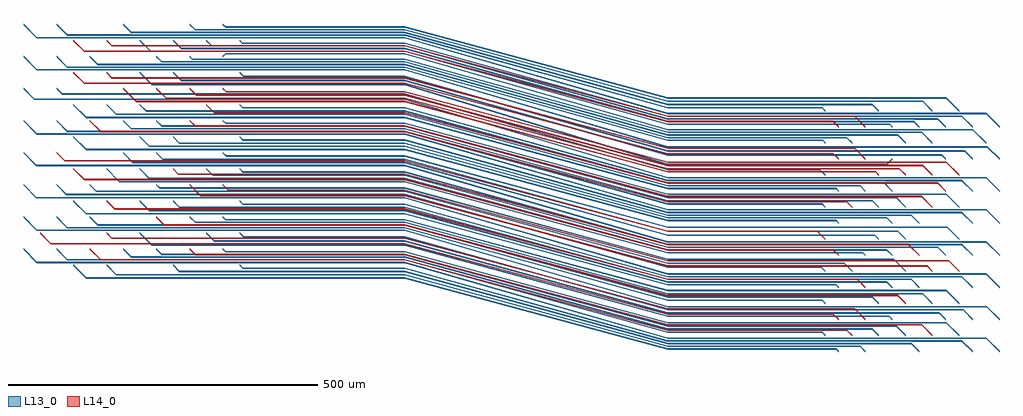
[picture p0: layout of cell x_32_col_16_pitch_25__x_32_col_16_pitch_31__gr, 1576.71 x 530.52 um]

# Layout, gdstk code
import gdstk
lib = gdstk.Library(unit=1e-6, precision=1e-09)
def R(c, l, rs):  # rectangles x0, y0, x1, y1
    for r in rs: c.add(gdstk.rectangle(r[:2], r[2:], *l))
def A(c, l, x, y, w, h, nx, ny, dx, dy):  # array of equal rectangles
    R(c, l, [(x+i*dx, y+j*dy, x+i*dx+w, y+j*dy+h) for i in range(nx) for j in range(ny)])
def P(c, l, *ps):  # polygons
    for p in ps: c.add(gdstk.Polygon(p, *l))
L13_0 = (13, 0)
L14_0 = (14, 0)

x_32_col_16_pitch_25__x_ = lib.new_cell('x_32_col_16_pitch_25__x_32_col_16_pitch_31__gr')
A(x_32_col_16_pitch_25__x_, L13_0, 2300, 1351.56, 271.46, 2, 1, 3, 0, 103.68)
A(x_32_col_16_pitch_25__x_, L13_0, 2300, 1360.2, 392.72, 2, 1, 3, 0, 103.68)
A(x_32_col_16_pitch_25__x_, L13_0, 2300, 1430.184, 248.946, 2, 1, 3, 0, 155.52)
A(x_32_col_16_pitch_25__x_, L13_0, 2300, 1435.368, 330.362, 2, 1, 3, 0, 155.52)
A(x_32_col_16_pitch_25__x_, L13_0, 2300, 1445.736, 449.894, 2, 1, 3, 0, 155.52)
A(x_32_col_16_pitch_25__x_, L13_0, 2300, 1459.56, 353.74, 2, 1, 3, 0, 51.84)
A(x_32_col_16_pitch_25__x_, L13_0, 1360.153, 1466.224, 514.847, 2, 1, 3, 0, 103.68)
A(x_32_col_16_pitch_25__x_, L13_0, 2300, 1468.2, 475, 2, 1, 4, 0, 51.84)
A(x_32_col_16_pitch_25__x_, L13_0, 2300, 1472.52, 513.982, 2, 1, 4, 0, 51.84)
A(x_32_col_16_pitch_25__x_, L13_0, 1510.865, 1476.592, 364.135, 2, 1, 3, 0, 103.68)
A(x_32_col_16_pitch_25__x_, L13_0, 1462.352, 1575.088, 412.648, 2, 1, 3, 0, 51.84)
A(x_32_col_16_pitch_25__x_, L13_0, 1613.064, 1585.456, 261.936, 2, 1, 4, 0, 51.84)
R(x_32_col_16_pitch_25__x_, L13_0, [(2300,1355.88,2610.44,1357.88), (2300,1364.52,2775,1366.52), (2300,1368.84,2813.982,1370.84), (2300,1378.344,2548.946,1380.344), (2300,1383.528,2630.362,1385.528), (2300,1388.712,2668.478,1390.712), (2300,1393.896,2749.894,1395.896), (2300,1404.264,2657.196,1406.264), (2300,1409.448,2738.612,1411.448), (2300,1414.632,2776.728,1416.632), (2300,1419.816,2814.846,1421.816), (2300,1440.552,2711.778,1442.552), (1408.662,1471.408,1875,1473.408), (1613.064,1481.776,1875,1483.776), (2300,1483.32,2547.65,1485.32), (2300,1489.8,2584.47,1491.8), (1280.472,1491.28,1875,1493.28), (1329.85,1495.6,1875,1497.6), (2300,1496.28,2664.59,1498.28), (1432.917,1499.92,1875,1501.92), (1482.29,1504.24,1875,1506.24), (2300,1507.08,2614.76,1509.08), (1585.36,1508.56,1875,1510.56), (2300,1515.72,2736.02,1517.72), (1466.24,1519.36,1875,1521.36), (1567.15,1525.84,1875,1527.84), (1614.36,1532.32,1875,1534.32), (2300,1535.16,2634.25,1537.16), (2300,1541.64,2671.07,1543.64), (1280.472,1543.12,1875,1545.12), (1329.85,1547.44,1875,1549.44), (2300,1548.12,2751.19,1550.12), (1379.22,1551.76,1875,1553.76), (1535.98,1556.08,1875,1558.08), (1585.36,1560.4,1875,1562.4), (1279.608,1595.824,1875,1597.824), (2300,1596.072,2668.478,1598.072), (1328.122,1601.008,1875,1603.008), (1376.628,1606.192,1875,1608.192), (2300,1610.76,2571.46,1612.76), (1478.834,1611.376,1875,1613.376), (2300,1615.08,2610.44,1617.08), (2300,1619.4,2649.42,1621.4), (1413.846,1621.744,1875,1623.744), (1564.558,1632.112,1875,1634.112), (2300,1641,2545.49,1643), (1279.608,1647.664,1875,1649.664), (2300,1649.64,2653.74,1651.64), (1435.509,1652.848,1875,1654.848), (1484.018,1658.032,1875,1660.032), (1586.224,1663.216,1875,1665.216), (2300,1664.76,2742.5,1666.76), (2300,1671.24,2779.32,1673.24), (2300,1677.72,2816.142,1679.72), (2300,1688.52,2549.81,1690.52), (2300,1692.84,2588.79,1694.84), (2300,1697.16,2671.07,1699.16), (1280.472,1698.64,1875,1700.64), (2300,1701.48,2710.05,1703.48), (1329.85,1702.96,1875,1704.96), (2300,1705.8,2792.332,1707.8), (1432.917,1707.28,1875,1709.28), (1482.29,1711.6,1875,1713.6), (2300,1714.44,2658.06,1716.44), (1585.36,1715.92,1875,1717.92), (2300,1718.76,2697.04,1720.76), (2300,1723.08,2736.02,1725.08), (1360.153,1725.424,1875,1727.424), (2300,1727.4,2775,1729.4), (1408.662,1730.608,1875,1732.608), (2300,1731.72,2813.982,1733.72), (1457.168,1735.792,1875,1737.792), (2300,1751.592,2711.778,1753.592), (1276.152,1754.8,1875,1756.8), (1321.21,1763.44,1875,1765.44), (1466.24,1778.56,1875,1780.56), (1513.457,1785.04,1875,1787.04), (1614.36,1791.52,1875,1793.52), (1280.472,1802.32,1875,1804.32), (1329.85,1806.64,1875,1808.64), (1379.22,1810.96,1875,1812.96), (1482.29,1815.28,1875,1817.28), (1531.66,1819.6,1875,1821.6), (1585.36,1828.24,1875,1830.24), (1464.08,1832.56,1875,1834.56), (1513.457,1836.88,1875,1838.88), (1562.83,1841.2,1875,1843.2), (1612.2,1845.52,1875,1847.52), (1280.472,1854.16,1875,1856.16), (1329.85,1858.48,1875,1860.48), (1432.917,1862.8,1875,1864.8), (1535.98,1867.12,1875,1869.12), (1585.36,1871.44,1875,1873.44)])
P(x_32_col_16_pitch_25__x_, L13_0, [(2554.13,1736.04),(2554.13,1738.04),(2548.946,1743.224),(2548.946,1741.224)],
  [(2300,1741.224),(2300,1743.224),(1875,1860.48),(1875,1858.48)],
  [(1329.85,1858.48),(1329.85,1860.48),(1312.57,1877.76),(1312.57,1875.76)],
  [(2640.73,1736.04),(2640.73,1738.04),(2630.362,1748.408),(2630.362,1746.408)],
  [(2300,1746.408),(2300,1748.408),(1875,1864.8),(1875,1862.8)],
  [(1432.917,1862.8),(1432.917,1864.8),(1419.957,1877.76),(1419.957,1875.76)],
  [(2727.33,1736.04),(2727.33,1738.04),(2711.778,1753.592),(2711.778,1751.592)],
  [(2300,1751.592),(2300,1753.592),(1875,1869.12),(1875,1867.12)],
  [(1535.98,1867.12),(1535.98,1869.12),(1527.34,1877.76),(1527.34,1875.76)],
  [(2770.63,1736.04),(2770.63,1738.04),(2749.894,1758.776),(2749.894,1756.776)],
  [(2300,1756.776),(2300,1758.776),(1875,1873.44),(1875,1871.44)],
  [(1585.36,1871.44),(1585.36,1873.44),(1581.04,1877.76),(1581.04,1875.76)],
  [(2662.38,1710.12),(2662.38,1712.12),(2658.06,1716.44),(2658.06,1714.44)],
  [(2300,1714.44),(2300,1716.44),(1875,1834.56),(1875,1832.56)],
  [(1464.08,1832.56),(1464.08,1834.56),(1446.8,1851.84),(1446.8,1849.84)],
  [(2705.68,1710.12),(2705.68,1712.12),(2697.04,1720.76),(2697.04,1718.76)],
  [(2300,1718.76),(2300,1720.76),(1875,1838.88),(1875,1836.88)],
  [(1513.457,1836.88),(1513.457,1838.88),(1500.497,1851.84),(1500.497,1849.84)],
  [(2748.98,1710.12),(2748.98,1712.12),(2736.02,1725.08),(2736.02,1723.08)],
  [(2300,1723.08),(2300,1725.08),(1875,1843.2),(1875,1841.2)],
  [(1562.83,1841.2),(1562.83,1843.2),(1554.19,1851.84),(1554.19,1849.84)],
  [(2792.28,1710.12),(2792.28,1712.12),(2775,1729.4),(2775,1727.4)],
  [(2300,1727.4),(2300,1729.4),(1875,1847.52),(1875,1845.52)],
  [(1612.2,1845.52),(1612.2,1847.52),(1607.88,1851.84),(1607.88,1849.84)],
  [(2835.582,1710.12),(2835.582,1712.12),(2813.982,1733.72),(2813.982,1731.72)],
  [(2300,1731.72),(2300,1733.72),(1875,1856.16),(1875,1854.16)],
  [(1280.472,1854.16),(1280.472,1856.16),(1258.872,1877.76),(1258.872,1875.76)],
  [(2554.13,1684.2),(2554.13,1686.2),(2549.81,1690.52),(2549.81,1688.52)],
  [(2300,1688.52),(2300,1690.52),(1875,1808.64),(1875,1806.64)],
  [(1329.85,1806.64),(1329.85,1808.64),(1312.57,1825.92),(1312.57,1823.92)],
  [(2597.43,1684.2),(2597.43,1686.2),(2588.79,1694.84),(2588.79,1692.84)],
  [(2300,1692.84),(2300,1694.84),(1875,1812.96),(1875,1810.96)],
  [(1379.22,1810.96),(1379.22,1812.96),(1366.26,1825.92),(1366.26,1823.92)],
  [(2684.03,1684.2),(2684.03,1686.2),(2671.07,1699.16),(2671.07,1697.16)],
  [(2300,1697.16),(2300,1699.16),(1875,1817.28),(1875,1815.28)],
  [(1482.29,1815.28),(1482.29,1817.28),(1473.65,1825.92),(1473.65,1823.92)],
  [(2727.33,1684.2),(2727.33,1686.2),(2710.05,1703.48),(2710.05,1701.48)],
  [(2300,1701.48),(2300,1703.48),(1875,1821.6),(1875,1819.6)],
  [(1531.66,1819.6),(1531.66,1821.6),(1527.34,1825.92),(1527.34,1823.92)],
  [(2813.932,1684.2),(2813.932,1686.2),(2792.332,1707.8),(2792.332,1705.8)],
  [(2300,1705.8),(2300,1707.8),(1875,1830.24),(1875,1828.24)],
  [(1585.36,1828.24),(1585.36,1830.24),(1581.04,1825.92),(1581.04,1823.92)],
  [(2662.38,1658.28),(2662.38,1660.28),(2653.74,1651.64),(2653.74,1649.64)],
  [(2300,1649.64),(2300,1651.64),(1875,1780.56),(1875,1778.56)],
  [(1466.24,1778.56),(1466.24,1780.56),(1446.8,1800),(1446.8,1798)],
  [(2748.98,1658.28),(2748.98,1660.28),(2742.5,1666.76),(2742.5,1664.76)],
  [(2300,1664.76),(2300,1666.76),(1875,1787.04),(1875,1785.04)],
  [(1513.457,1785.04),(1513.457,1787.04),(1500.497,1800),(1500.497,1798)],
  [(2792.28,1658.28),(2792.28,1660.28),(2779.32,1673.24),(2779.32,1671.24)],
  [(2300,1671.24),(2300,1673.24),(1875,1793.52),(1875,1791.52)],
  [(1614.36,1791.52),(1614.36,1793.52),(1607.88,1800),(1607.88,1798)],
  [(2835.582,1658.28),(2835.582,1660.28),(2816.142,1679.72),(2816.142,1677.72)],
  [(2300,1677.72),(2300,1679.72),(1875,1804.32),(1875,1802.32)],
  [(1280.472,1802.32),(1280.472,1804.32),(1258.872,1825.92),(1258.872,1823.92)],
  [(2554.13,1632.36),(2554.13,1634.36),(2545.49,1643),(2545.49,1641)],
  [(2300,1641),(2300,1643),(1875,1765.44),(1875,1763.44)],
  [(1321.21,1763.44),(1321.21,1765.44),(1312.57,1774.08),(1312.57,1772.08)],
  [(2575.78,1606.44),(2575.78,1608.44),(2571.46,1612.76),(2571.46,1610.76)],
  [(2300,1610.76),(2300,1612.76),(1875,1727.424),(1875,1725.424)],
  [(1360.153,1725.424),(1360.153,1727.424),(1339.417,1748.16),(1339.417,1746.16)],
  [(2619.08,1606.44),(2619.08,1608.44),(2610.44,1617.08),(2610.44,1615.08)],
  [(2300,1615.08),(2300,1617.08),(1875,1732.608),(1875,1730.608)],
  [(1408.662,1730.608),(1408.662,1732.608),(1393.11,1748.16),(1393.11,1746.16)],
  [(2662.38,1606.44),(2662.38,1608.44),(2649.42,1621.4),(2649.42,1619.4)],
  [(2300,1619.4),(2300,1621.4),(1875,1737.792),(1875,1735.792)],
  [(1457.168,1735.792),(1457.168,1737.792),(1446.8,1748.16),(1446.8,1746.16)],
  [(2792.28,1606.44),(2792.28,1608.44),(2775,1625.72),(2775,1623.72)],
  [(2300,1623.72),(2300,1625.72),(1875,1742.976),(1875,1740.976)],
  [(1613.064,1740.976),(1613.064,1742.976),(1607.88,1748.16),(1607.88,1746.16)],
  [(2835.582,1606.44),(2835.582,1608.44),(2813.982,1630.04),(2813.982,1628.04)],
  [(2300,1628.04),(2300,1630.04),(1875,1756.8),(1875,1754.8)],
  [(1276.152,1754.8),(1276.152,1756.8),(1258.872,1774.08),(1258.872,1772.08)],
  [(2554.13,1580.52),(2554.13,1582.52),(2548.946,1587.704),(2548.946,1585.704)],
  [(2300,1585.704),(2300,1587.704),(1875,1704.96),(1875,1702.96)],
  [(1329.85,1702.96),(1329.85,1704.96),(1312.57,1722.24),(1312.57,1720.24)],
  [(2640.73,1580.52),(2640.73,1582.52),(2630.362,1592.888),(2630.362,1590.888)],
  [(2300,1590.888),(2300,1592.888),(1875,1709.28),(1875,1707.28)],
  [(1432.917,1707.28),(1432.917,1709.28),(1419.957,1722.24),(1419.957,1720.24)],
  [(2684.03,1580.52),(2684.03,1582.52),(2668.478,1598.072),(2668.478,1596.072)],
  [(2300,1596.072),(2300,1598.072),(1875,1713.6),(1875,1711.6)],
  [(1482.29,1711.6),(1482.29,1713.6),(1473.65,1722.24),(1473.65,1720.24)],
  [(2770.63,1580.52),(2770.63,1582.52),(2749.894,1603.256),(2749.894,1601.256)],
  [(2300,1601.256),(2300,1603.256),(1875,1717.92),(1875,1715.92)],
  [(1585.36,1715.92),(1585.36,1717.92),(1581.04,1722.24),(1581.04,1720.24)],
  [(2575.78,1554.6),(2575.78,1556.6),(2571.46,1560.92),(2571.46,1558.92)],
  [(2300,1558.92),(2300,1560.92),(1875,1675.584),(1875,1673.584)],
  [(1360.153,1673.584),(1360.153,1675.584),(1339.417,1696.32),(1339.417,1694.32)],
  [(2662.38,1554.6),(2662.38,1556.6),(2653.74,1565.24),(2653.74,1563.24)],
  [(2300,1563.24),(2300,1565.24),(1875,1680.768),(1875,1678.768)],
  [(1462.352,1678.768),(1462.352,1680.768),(1446.8,1696.32),(1446.8,1694.32)],
  [(2705.68,1554.6),(2705.68,1556.6),(2692.72,1569.56),(2692.72,1567.56)],
  [(2300,1567.56),(2300,1569.56),(1875,1685.952),(1875,1683.952)],
  [(1510.865,1683.952),(1510.865,1685.952),(1500.497,1696.32),(1500.497,1694.32)],
  [(2792.28,1554.6),(2792.28,1556.6),(2775,1573.88),(2775,1571.88)],
  [(2300,1571.88),(2300,1573.88),(1875,1691.136),(1875,1689.136)],
  [(1613.064,1689.136),(1613.064,1691.136),(1607.88,1696.32),(1607.88,1694.32)],
  [(2835.582,1554.6),(2835.582,1556.6),(2813.982,1578.2),(2813.982,1576.2)],
  [(2300,1576.2),(2300,1578.2),(1875,1700.64),(1875,1698.64)],
  [(1280.472,1698.64),(1280.472,1700.64),(1258.872,1722.24),(1258.872,1720.24)],
  [(2640.73,1528.68),(2640.73,1530.68),(2634.25,1537.16),(2634.25,1535.16)],
  [(2300,1535.16),(2300,1537.16),(1875,1654.848),(1875,1652.848)],
  [(1435.509,1652.848),(1435.509,1654.848),(1419.957,1670.4),(1419.957,1668.4)],
  [(2684.03,1528.68),(2684.03,1530.68),(2671.07,1543.64),(2671.07,1541.64)],
  [(2300,1541.64),(2300,1543.64),(1875,1660.032),(1875,1658.032)],
  [(1484.018,1658.032),(1484.018,1660.032),(1473.65,1670.4),(1473.65,1668.4)],
  [(2770.63,1528.68),(2770.63,1530.68),(2751.19,1550.12),(2751.19,1548.12)],
  [(2300,1548.12),(2300,1550.12),(1875,1665.216),(1875,1663.216)],
  [(1586.224,1663.216),(1586.224,1665.216),(1581.04,1670.4),(1581.04,1668.4)],
  [(2619.08,1502.76),(2619.08,1504.76),(2614.76,1509.08),(2614.76,1507.08)],
  [(2300,1507.08),(2300,1509.08),(1875,1623.744),(1875,1621.744)],
  [(1413.846,1621.744),(1413.846,1623.744),(1393.11,1644.48),(1393.11,1642.48)],
  [(2662.38,1502.76),(2662.38,1504.76),(2653.74,1513.4),(2653.74,1511.4)],
  [(2300,1511.4),(2300,1513.4),(1875,1628.928),(1875,1626.928)],
  [(1462.352,1626.928),(1462.352,1628.928),(1446.8,1644.48),(1446.8,1642.48)],
  [(2748.98,1502.76),(2748.98,1504.76),(2736.02,1517.72),(2736.02,1515.72)],
  [(2300,1515.72),(2300,1517.72),(1875,1634.112),(1875,1632.112)],
  [(1564.558,1632.112),(1564.558,1634.112),(1554.19,1644.48),(1554.19,1642.48)],
  [(2792.28,1502.76),(2792.28,1504.76),(2775,1522.04),(2775,1520.04)],
  [(2300,1520.04),(2300,1522.04),(1875,1639.296),(1875,1637.296)],
  [(1613.064,1637.296),(1613.064,1639.296),(1607.88,1644.48),(1607.88,1642.48)],
  [(2835.582,1502.76),(2835.582,1504.76),(2813.982,1526.36),(2813.982,1524.36)],
  [(2300,1524.36),(2300,1526.36),(1875,1649.664),(1875,1647.664)],
  [(1279.608,1647.664),(1279.608,1649.664),(1258.872,1670.4),(1258.872,1668.4)],
  [(2554.13,1476.84),(2554.13,1478.84),(2547.65,1485.32),(2547.65,1483.32)],
  [(2300,1483.32),(2300,1485.32),(1875,1603.008),(1875,1601.008)],
  [(1328.122,1601.008),(1328.122,1603.008),(1312.57,1618.56),(1312.57,1616.56)],
  [(2597.43,1476.84),(2597.43,1478.84),(2584.47,1491.8),(2584.47,1489.8)],
  [(2300,1489.8),(2300,1491.8),(1875,1608.192),(1875,1606.192)],
  [(1376.628,1606.192),(1376.628,1608.192),(1366.26,1618.56),(1366.26,1616.56)],
  [(2684.03,1476.84),(2684.03,1478.84),(2664.59,1498.28),(2664.59,1496.28)],
  [(2300,1496.28),(2300,1498.28),(1875,1613.376),(1875,1611.376)],
  [(1478.834,1611.376),(1478.834,1613.376),(1473.65,1618.56),(1473.65,1616.56)],
  [(2575.78,1450.92),(2575.78,1452.92),(2571.46,1457.24),(2571.46,1455.24)],
  [(2300,1455.24),(2300,1457.24),(1875,1571.904),(1875,1569.904)],
  [(1360.153,1569.904),(1360.153,1571.904),(1339.417,1592.64),(1339.417,1590.64)],
  [(2662.38,1450.92),(2662.38,1452.92),(2653.74,1461.56),(2653.74,1459.56)],
  [(2300,1459.56),(2300,1461.56),(1875,1577.088),(1875,1575.088)],
  [(1462.352,1575.088),(1462.352,1577.088),(1446.8,1592.64),(1446.8,1590.64)],
  [(2705.68,1450.92),(2705.68,1452.92),(2692.72,1465.88),(2692.72,1463.88)],
  [(2300,1463.88),(2300,1465.88),(1875,1582.272),(1875,1580.272)],
  [(1510.865,1580.272),(1510.865,1582.272),(1500.497,1592.64),(1500.497,1590.64)],
  [(2792.28,1450.92),(2792.28,1452.92),(2775,1470.2),(2775,1468.2)],
  [(2300,1468.2),(2300,1470.2),(1875,1587.456),(1875,1585.456)],
  [(1613.064,1585.456),(1613.064,1587.456),(1607.88,1592.64),(1607.88,1590.64)],
  [(2835.582,1450.92),(2835.582,1452.92),(2813.982,1474.52),(2813.982,1472.52)],
  [(2300,1472.52),(2300,1474.52),(1875,1597.824),(1875,1595.824)],
  [(1279.608,1595.824),(1279.608,1597.824),(1258.872,1618.56),(1258.872,1616.56)],
  [(2554.13,1425),(2554.13,1427),(2548.946,1432.184),(2548.946,1430.184)],
  [(2300,1430.184),(2300,1432.184),(1875,1549.44),(1875,1547.44)],
  [(1329.85,1547.44),(1329.85,1549.44),(1312.57,1566.72),(1312.57,1564.72)],
  [(2640.73,1425),(2640.73,1427),(2630.362,1437.368),(2630.362,1435.368)],
  [(2300,1435.368),(2300,1437.368),(1875,1553.76),(1875,1551.76)],
  [(1379.22,1551.76),(1379.22,1553.76),(1366.26,1566.72),(1366.26,1564.72)],
  [(2727.33,1425),(2727.33,1427),(2711.778,1442.552),(2711.778,1440.552)],
  [(2300,1440.552),(2300,1442.552),(1875,1558.08),(1875,1556.08)],
  [(1535.98,1556.08),(1535.98,1558.08),(1527.34,1566.72),(1527.34,1564.72)],
  [(2770.63,1425),(2770.63,1427),(2749.894,1447.736),(2749.894,1445.736)],
  [(2300,1445.736),(2300,1447.736),(1875,1562.4),(1875,1560.4)],
  [(1585.36,1560.4),(1585.36,1562.4),(1581.04,1566.72),(1581.04,1564.72)],
  [(2662.38,1399.08),(2662.38,1401.08),(2657.196,1406.264),(2657.196,1404.264)],
  [(2300,1404.264),(2300,1406.264),(1875,1521.36),(1875,1519.36)],
  [(1466.24,1519.36),(1466.24,1521.36),(1446.8,1540.8),(1446.8,1538.8)],
  [(2748.98,1399.08),(2748.98,1401.08),(2738.612,1411.448),(2738.612,1409.448)],
  [(2300,1409.448),(2300,1411.448),(1875,1527.84),(1875,1525.84)],
  [(1567.15,1525.84),(1567.15,1527.84),(1554.19,1540.8),(1554.19,1538.8)],
  [(2792.28,1399.08),(2792.28,1401.08),(2776.728,1416.632),(2776.728,1414.632)],
  [(2300,1414.632),(2300,1416.632),(1875,1534.32),(1875,1532.32)],
  [(1614.36,1532.32),(1614.36,1534.32),(1607.88,1540.8),(1607.88,1538.8)],
  [(2835.582,1399.08),(2835.582,1401.08),(2814.846,1421.816),(2814.846,1419.816)],
  [(2300,1419.816),(2300,1421.816),(1875,1545.12),(1875,1543.12)],
  [(1280.472,1543.12),(1280.472,1545.12),(1258.872,1566.72),(1258.872,1564.72)],
  [(2554.13,1373.16),(2554.13,1375.16),(2548.946,1380.344),(2548.946,1378.344)],
  [(2300,1378.344),(2300,1380.344),(1875,1497.6),(1875,1495.6)],
  [(1329.85,1495.6),(1329.85,1497.6),(1312.57,1514.88),(1312.57,1512.88)],
  [(2640.73,1373.16),(2640.73,1375.16),(2630.362,1385.528),(2630.362,1383.528)],
  [(2300,1383.528),(2300,1385.528),(1875,1501.92),(1875,1499.92)],
  [(1432.917,1499.92),(1432.917,1501.92),(1419.957,1514.88),(1419.957,1512.88)],
  [(2684.03,1373.16),(2684.03,1375.16),(2668.478,1390.712),(2668.478,1388.712)],
  [(2300,1388.712),(2300,1390.712),(1875,1506.24),(1875,1504.24)],
  [(1482.29,1504.24),(1482.29,1506.24),(1473.65,1514.88),(1473.65,1512.88)],
  [(2770.63,1373.16),(2770.63,1375.16),(2749.894,1395.896),(2749.894,1393.896)],
  [(2300,1393.896),(2300,1395.896),(1875,1510.56),(1875,1508.56)],
  [(1585.36,1508.56),(1585.36,1510.56),(1581.04,1514.88),(1581.04,1512.88)],
  [(2575.78,1347.24),(2575.78,1349.24),(2571.46,1353.56),(2571.46,1351.56)],
  [(2300,1351.56),(2300,1353.56),(1875,1468.224),(1875,1466.224)],
  [(1360.153,1466.224),(1360.153,1468.224),(1339.417,1488.96),(1339.417,1486.96)],
  [(2619.08,1347.24),(2619.08,1349.24),(2610.44,1357.88),(2610.44,1355.88)],
  [(2300,1355.88),(2300,1357.88),(1875,1473.408),(1875,1471.408)],
  [(1408.662,1471.408),(1408.662,1473.408),(1393.11,1488.96),(1393.11,1486.96)],
  [(2705.68,1347.24),(2705.68,1349.24),(2692.72,1362.2),(2692.72,1360.2)],
  [(2300,1360.2),(2300,1362.2),(1875,1478.592),(1875,1476.592)],
  [(1510.865,1476.592),(1510.865,1478.592),(1500.497,1488.96),(1500.497,1486.96)],
  [(2792.28,1347.24),(2792.28,1349.24),(2775,1366.52),(2775,1364.52)],
  [(2300,1364.52),(2300,1366.52),(1875,1483.776),(1875,1481.776)],
  [(1613.064,1481.776),(1613.064,1483.776),(1607.88,1488.96),(1607.88,1486.96)],
  [(2835.582,1347.24),(2835.582,1349.24),(2813.982,1370.84),(2813.982,1368.84)],
  [(2300,1368.84),(2300,1370.84),(1875,1493.28),(1875,1491.28)],
  [(1280.472,1491.28),(1280.472,1493.28),(1258.872,1514.88),(1258.872,1512.88)])
R(x_32_col_16_pitch_25__x_, L14_0, [(2300,1381.8,2588.79,1383.8), (2300,1390.44,2710.05,1392.44), (2300,1407.72,2567.14,1409.72), (2300,1416.36,2601.8,1418.36), (2300,1437.96,2671.07,1439.96), (2300,1463.88,2606.12,1465.88), (2300,1485.48,2718.69,1487.48), (2300,1494.12,2753.35,1496.12), (1383.54,1495.6,1875,1497.6), (1535.98,1504.24,1875,1506.24), (2300,1511.4,2567.14,1513.4), (2300,1520.04,2688.4,1522.04), (1303,1521.52,1875,1523.52), (1401.75,1530.16,1875,1532.16), (2300,1541.64,2541.17,1543.64), (1486.61,1551.76,1875,1553.76), (1406.07,1577.68,1875,1579.68), (2300,1589.16,2588.79,1591.16), (2300,1597.8,2710.05,1599.8), (1544.62,1599.28,1875,1601.28), (1589.68,1607.92,1875,1609.92), (2300,1619.4,2736.02,1621.4), (1356.697,1625.2,1875,1627.2), (1509.137,1633.84,1875,1635.84), (2300,1637.544,2635.546,1639.544), (2300,1642.728,2673.662,1644.728), (2300,1647.912,2711.778,1649.912), (2300,1653.096,2749.894,1655.096), (1325.53,1655.44,1875,1657.44), (2300,1666.92,2567.14,1668.92), (2300,1675.56,2601.8,1677.56), (1383.54,1702.96,1875,1704.96), (1535.98,1711.6,1875,1713.6), (2300,1718.76,2567.14,1720.76), (2300,1727.4,2601.8,1729.4), (1567.15,1733.2,1875,1735.2), (1440.693,1751.344,1875,1753.344), (1489.202,1756.528,1875,1758.528), (1537.708,1761.712,1875,1763.712), (1586.224,1766.896,1875,1768.896), (1356.697,1780.72,1875,1782.72), (1401.75,1789.36,1875,1791.36), (1356.697,1832.56,1875,1834.56), (1401.75,1841.2,1875,1843.2)])
P(x_32_col_16_pitch_25__x_, L14_0, [(2575.78,1710.12),(2575.78,1712.12),(2567.14,1720.76),(2567.14,1718.76)],
  [(2300,1718.76),(2300,1720.76),(1875,1834.56),(1875,1832.56)],
  [(1356.697,1832.56),(1356.697,1834.56),(1339.417,1851.84),(1339.417,1849.84)],
  [(2619.08,1710.12),(2619.08,1712.12),(2601.8,1729.4),(2601.8,1727.4)],
  [(2300,1727.4),(2300,1729.4),(1875,1843.2),(1875,1841.2)],
  [(1401.75,1841.2),(1401.75,1843.2),(1393.11,1851.84),(1393.11,1849.84)],
  [(2575.78,1658.28),(2575.78,1660.28),(2567.14,1668.92),(2567.14,1666.92)],
  [(2300,1666.92),(2300,1668.92),(1875,1782.72),(1875,1780.72)],
  [(1356.697,1780.72),(1356.697,1782.72),(1339.417,1800),(1339.417,1798)],
  [(2619.08,1658.28),(2619.08,1660.28),(2601.8,1677.56),(2601.8,1675.56)],
  [(2300,1675.56),(2300,1677.56),(1875,1791.36),(1875,1789.36)],
  [(1401.75,1789.36),(1401.75,1791.36),(1393.11,1800),(1393.11,1798)],
  [(2640.73,1632.36),(2640.73,1634.36),(2635.546,1639.544),(2635.546,1637.544)],
  [(2300,1637.544),(2300,1639.544),(1875,1753.344),(1875,1751.344)],
  [(1440.693,1751.344),(1440.693,1753.344),(1419.957,1774.08),(1419.957,1772.08)],
  [(2684.03,1632.36),(2684.03,1634.36),(2673.662,1644.728),(2673.662,1642.728)],
  [(2300,1642.728),(2300,1644.728),(1875,1758.528),(1875,1756.528)],
  [(1489.202,1756.528),(1489.202,1758.528),(1473.65,1774.08),(1473.65,1772.08)],
  [(2727.33,1632.36),(2727.33,1634.36),(2711.778,1649.912),(2711.778,1647.912)],
  [(2300,1647.912),(2300,1649.912),(1875,1763.712),(1875,1761.712)],
  [(1537.708,1761.712),(1537.708,1763.712),(1527.34,1774.08),(1527.34,1772.08)],
  [(2770.63,1632.36),(2770.63,1634.36),(2749.894,1655.096),(2749.894,1653.096)],
  [(2300,1653.096),(2300,1655.096),(1875,1768.896),(1875,1766.896)],
  [(1586.224,1766.896),(1586.224,1768.896),(1581.04,1774.08),(1581.04,1772.08)],
  [(2748.98,1606.44),(2748.98,1608.44),(2736.02,1621.4),(2736.02,1619.4)],
  [(2300,1619.4),(2300,1621.4),(1875,1735.2),(1875,1733.2)],
  [(1567.15,1733.2),(1567.15,1735.2),(1554.19,1748.16),(1554.19,1746.16)],
  [(2597.43,1580.52),(2597.43,1582.52),(2588.79,1591.16),(2588.79,1589.16)],
  [(2300,1589.16),(2300,1591.16),(1875,1704.96),(1875,1702.96)],
  [(1383.54,1702.96),(1383.54,1704.96),(1366.26,1722.24),(1366.26,1720.24)],
  [(2727.33,1580.52),(2727.33,1582.52),(2710.05,1599.8),(2710.05,1597.8)],
  [(2300,1597.8),(2300,1599.8),(1875,1713.6),(1875,1711.6)],
  [(1535.98,1711.6),(1535.98,1713.6),(1527.34,1722.24),(1527.34,1720.24)],
  [(2554.13,1528.68),(2554.13,1530.68),(2541.17,1543.64),(2541.17,1541.64)],
  [(2300,1541.64),(2300,1543.64),(1875,1657.44),(1875,1655.44)],
  [(1325.53,1655.44),(1325.53,1657.44),(1312.57,1670.4),(1312.57,1668.4)],
  [(2575.78,1502.76),(2575.78,1504.76),(2567.14,1513.4),(2567.14,1511.4)],
  [(2300,1511.4),(2300,1513.4),(1875,1627.2),(1875,1625.2)],
  [(1356.697,1625.2),(1356.697,1627.2),(1339.417,1644.48),(1339.417,1642.48)],
  [(2705.68,1502.76),(2705.68,1504.76),(2688.4,1522.04),(2688.4,1520.04)],
  [(2300,1520.04),(2300,1522.04),(1875,1635.84),(1875,1633.84)],
  [(1509.137,1633.84),(1509.137,1635.84),(1500.497,1644.48),(1500.497,1642.48)],
  [(2727.33,1476.84),(2727.33,1478.84),(2718.69,1487.48),(2718.69,1485.48)],
  [(2300,1485.48),(2300,1487.48),(1875,1601.28),(1875,1599.28)],
  [(1544.62,1599.28),(1544.62,1601.28),(1527.34,1618.56),(1527.34,1616.56)],
  [(2770.63,1476.84),(2770.63,1478.84),(2753.35,1496.12),(2753.35,1494.12)],
  [(2300,1494.12),(2300,1496.12),(1875,1609.92),(1875,1607.92)],
  [(1589.68,1607.92),(1589.68,1609.92),(1581.04,1618.56),(1581.04,1616.56)],
  [(2619.08,1450.92),(2619.08,1452.92),(2606.12,1465.88),(2606.12,1463.88)],
  [(2300,1463.88),(2300,1465.88),(1875,1579.68),(1875,1577.68)],
  [(1406.07,1577.68),(1406.07,1579.68),(1393.11,1592.64),(1393.11,1590.64)],
  [(2684.03,1425),(2684.03,1427),(2671.07,1439.96),(2671.07,1437.96)],
  [(2300,1437.96),(2300,1439.96),(1875,1553.76),(1875,1551.76)],
  [(1486.61,1551.76),(1486.61,1553.76),(1473.65,1566.72),(1473.65,1564.72)],
  [(2575.78,1399.08),(2575.78,1401.08),(2567.14,1409.72),(2567.14,1407.72)],
  [(2300,1407.72),(2300,1409.72),(1875,1523.52),(1875,1521.52)],
  [(1303,1521.52),(1303,1523.52),(1285.72,1540.8),(1285.72,1538.8)],
  [(2619.08,1399.08),(2619.08,1401.08),(2601.8,1418.36),(2601.8,1416.36)],
  [(2300,1416.36),(2300,1418.36),(1875,1532.16),(1875,1530.16)],
  [(1401.75,1530.16),(1401.75,1532.16),(1393.11,1540.8),(1393.11,1538.8)],
  [(2597.43,1373.16),(2597.43,1375.16),(2588.79,1383.8),(2588.79,1381.8)],
  [(2300,1381.8),(2300,1383.8),(1875,1497.6),(1875,1495.6)],
  [(1383.54,1495.6),(1383.54,1497.6),(1366.26,1514.88),(1366.26,1512.88)],
  [(2727.33,1373.16),(2727.33,1375.16),(2710.05,1392.44),(2710.05,1390.44)],
  [(2300,1390.44),(2300,1392.44),(1875,1506.24),(1875,1504.24)],
  [(1535.98,1504.24),(1535.98,1506.24),(1527.34,1514.88),(1527.34,1512.88)])

lib.write_gds('x_32_col_16_pitch_25__x_32_col_16_pitch_31__gr.gds')
